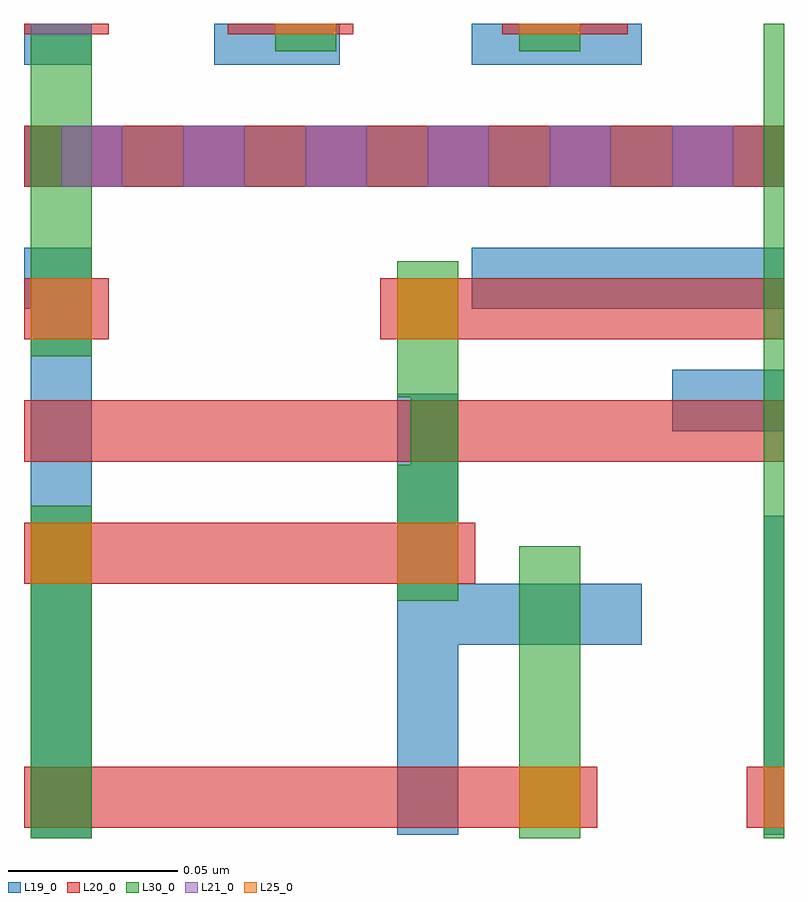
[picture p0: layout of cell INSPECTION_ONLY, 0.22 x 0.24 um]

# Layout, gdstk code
import gdstk
lib = gdstk.Library(unit=1e-6, precision=2.5e-10)
def R(c, l, rs):  # rectangles x0, y0, x1, y1
    for r in rs: c.add(gdstk.rectangle(r[:2], r[2:], *l))
def A(c, l, x, y, w, h, nx, ny, dx, dy):  # array of equal rectangles
    R(c, l, [(x+i*dx, y+j*dy, x+i*dx+w, y+j*dy+h) for i in range(nx) for j in range(ny)])
def P(c, l, *ps):  # polygons
    for p in ps: c.add(gdstk.Polygon(p, *l))
L19_0 = (19, 0)
L20_0 = (20, 0)
L21_0 = (21, 0)
L25_0 = (25, 0)
L30_0 = (30, 0)

inspection_only = lib.new_cell('INSPECTION_ONLY')
A(inspection_only, L19_0, 6.876, 2.194, 0.018, 0.005, 3, 1, 0.072, 0)
R(inspection_only, L19_0, [(7.092,1.96,7.098,1.982), (7.092,1.96,7.098,2.054), (6.984,2.032,7.002,2.054), (7.065,2.079,7.098,2.097), (6.876,2.104,6.894,2.126), (7.006,2.115,7.098,2.133), (6.874,2.151,7.098,2.169), (6.874,2.151,7.098,2.169), (6.874,2.151,6.912,2.169), (6.874,2.151,6.912,2.169), (6.912,2.151,7.098,2.169), (6.912,2.151,6.966,2.169), (6.966,2.151,7.098,2.169), (6.874,2.187,6.894,2.199), (6.93,2.187,6.967,2.199), (7.006,2.187,7.056,2.199)])
P(inspection_only, L19_0, [(6.876,1.959),(6.876,2.115),(6.874,2.115),(6.874,2.133),(6.894,2.133),(6.894,1.959)],
  [(6.984,1.96),(6.984,2.09),(7.002,2.09),(7.002,2.034),(7.056,2.034),(7.056,2.016),(7.002,2.016),(7.002,1.96)])
R(inspection_only, L20_0, [(6.874,1.962,7.043,1.98), (7.087,1.962,7.098,1.98), (6.874,2.034,7.007,2.052), (6.874,2.07,7.098,2.088), (6.874,2.106,6.899,2.124), (6.979,2.106,7.098,2.124), (6.874,2.151,7.098,2.169), (6.874,2.196,6.899,2.199), (6.934,2.196,6.971,2.199), (7.015,2.196,7.052,2.199)])
A(inspection_only, L21_0, 6.885, 2.151, 0.018, 0.018, 6, 1, 0.036, 0)
A(inspection_only, L21_0, 6.876, 2.196, 0.018, 0.003, 3, 1, 0.072, 0)
R(inspection_only, L21_0, [(7.092,1.962,7.098,1.98), (6.984,2.034,7.002,2.052), (6.876,2.106,6.894,2.124)])
R(inspection_only, L25_0, [(7.02,1.962,7.038,1.98), (7.092,1.962,7.098,1.98), (6.876,2.034,6.894,2.052), (6.984,2.034,7.002,2.052), (6.876,2.106,6.894,2.124), (6.984,2.106,7.002,2.124), (6.948,2.196,6.966,2.199), (7.02,2.196,7.038,2.199)])
R(inspection_only, L30_0, [(6.876,1.959,6.894,2.057), (7.02,1.959,7.038,2.045), (7.092,1.959,7.098,2.199), (6.876,2.101,6.894,2.199), (6.948,2.191,6.966,2.199), (7.02,2.191,7.038,2.199)])
P(inspection_only, L30_0, [(6.984,2.029),(6.984,2.069),(6.988,2.069),(6.988,2.089),(6.984,2.089),(6.984,2.129),(7.002,2.129),(7.002,2.029)])

lib.write_gds('INSPECTION_ONLY.gds')
